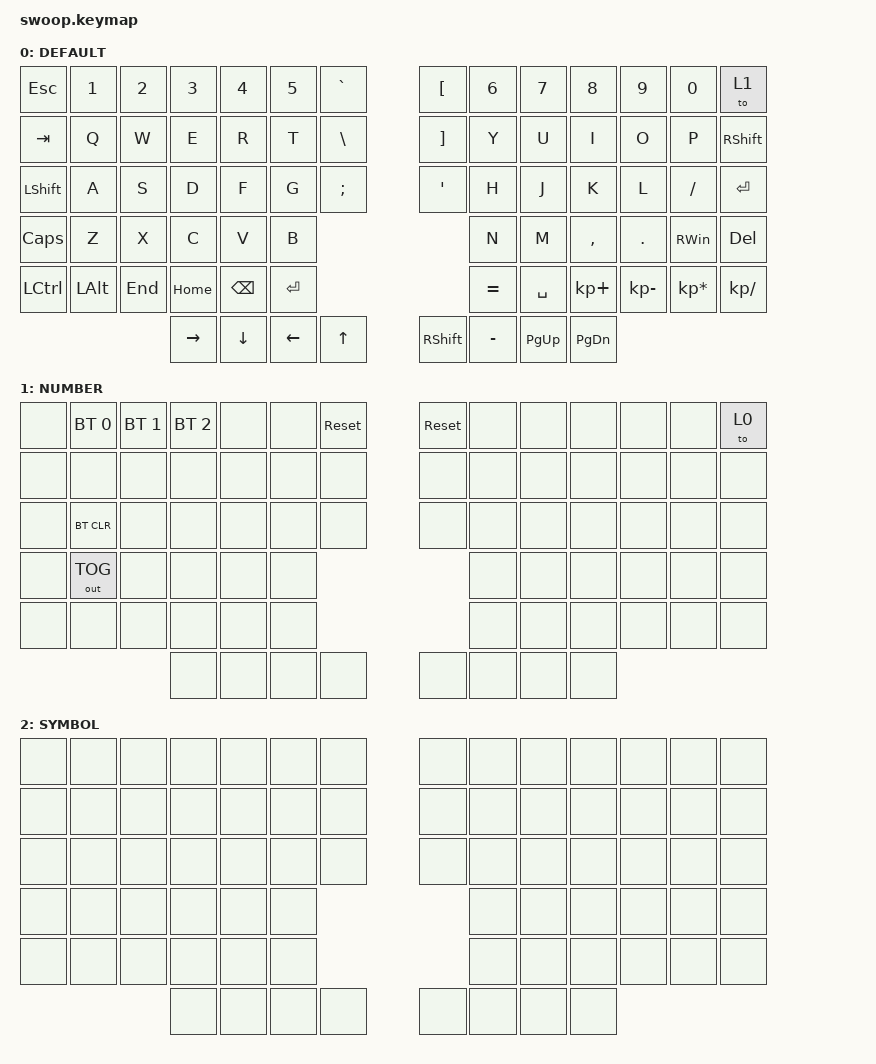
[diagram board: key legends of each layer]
/*
 * Copyright (c) 2020 duckyb
 *
 * SPDX-License-Identifier: MIT
 */

#include <behaviors.dtsi>
#include <dt-bindings/zmk/keys.h>
#include <dt-bindings/zmk/rgb.h>
#include <dt-bindings/zmk/bt.h>
#include <dt-bindings/zmk/outputs.h>


#define DEFAULT 0
#define NUMBER  1
#define SYMBOL  2
#define HOTKEY  3

#define AS(keycode) &as LS(keycode) keycode




/ {
        behaviors {
        td0: tap_dance_0 {
            compatible = "zmk,behavior-tap-dance";
            label = "TAP_DANCE_0";
            #binding-cells = <0>;
            tapping-term-ms = <200>;
            bindings = <&kp ESC>, <&kp TAB>;
        };
    };  

         behaviors {
       as: auto_shift {
        compatible = "zmk,behavior-hold-tap";
        label = "AUTO_SHIFT";
        #binding-cells = <2>;
        tapping-term-ms = <200>;
        quick-tap-ms = <0>;
        flavor = "tap-preferred";
        bindings = <&kp>, <&kp>;
                };             
modcp: mod_copy {
        compatible = "zmk,behavior-mod-morph";
        label = "MOD_COPY";
        #binding-cells = <0>;
        bindings = <&as LS(C) C>, <&kp C>;
        mods = <(LGUI | RGUI)>;
};
        };


    macros {
        macro_phone: macro_phone {
            // 1351
            label = "MACRO_PHONE";
            compatible = "zmk,behavior-macro";
            #binding-cells = <0>;
            bindings
                = < &kp N1 &kp N3 &kp N5  &kp N1>
                ;
        };
        macro_email_q: macro_email_q {
            // 2894512440@qq.com
            label = "MACRO_EMAIL_QQ";
            compatible = "zmk,behavior-macro";
            #binding-cells = <0>;
            bindings 
                = < &kp N2 &kp N8 &kp N9 &kp N4 &kp N5 &kp  N1 &kp N2 &kp N4 &kp N4 &kp N0 
                    &kp AT &kp Q &kp Q &kp DOT  &kp C &kp O &kp M>
                ;
        };
        macro_email_g: macro_email_g {
            // 135115
            compatible = "zmk,behavior-macro";
            label = "MACRO_EMAIL_GMAIL";
            #binding-cells = <0>;
            bindings
                = < &kp N1 &kp N3 &kp N5  &kp N1 &kp N1 &kp N5 > ;
        };
       
    };
    
     combos {
        compatible = "zmk,combos";
         combo_LSHFT {
            timeout-ms = <50>;
            key-positions = <14 15>;
            bindings = <&kp  LSHFT>;
        };
   };



    keymap {
       compatible = "zmk,keymap";
       default_layer {
            label = "DEFAULT";
  bindings = <
&kp ESC  &kp N1 &kp N2 &kp N3 &kp N4 &kp N5  &kp GRAVE                       &kp LBKT &kp N6  &kp N7  &kp N8  &kp N9  &kp N0   &to 1
&kp TAB    &kp Q  &kp W    &kp E   &kp R   &kp T  &kp BSLH                   &kp RBKT &kp Y   &kp U   &kp I   &kp O   &kp P    &kp RSHIFT
&kp LSHIFT  &kp A  &kp S    &kp D    &kp F  &kp G &kp SEMI                   &kp SQT  &kp H   &kp J   &kp K   &kp L   &kp FSLH &kp ENTER
&kp CAPS &kp Z  &kp X    &kp C    &kp V     &kp B                                     &kp N   &kp M   &kp COMMA &kp DOT  &kp RWIN &kp DEL 
&kp LCTRL  &kp LALT  &kp END &kp HOME  &kp BACKSPACE  &kp ENTER                       &kp EQUAL &kp SPACE  &kp KP_PLUS  &kp KP_MINUS   &kp KP_MULTIPLY  &kp KP_DIVIDE  
&kp RIGHT  &kp DOWN	  &kp LEFT 	&kp UP                                        &kp RSHIFT &kp MINUS    &kp PG_UP &kp PG_DN


            >;
        };
        number_layer {
            label = "NUMBER";
            bindings = <
     &none &bt BT_SEL 0 &bt BT_SEL 1 &bt BT_SEL 2 &none &none &sys_reset                   &sys_reset  &none &none &none &none &none &to 0
    &none &none &none &none &none &none &none                                             &none      &none &none &none &none  &none &none
    &none &bt BT_CLR &none &none &none &none  &none                                       &none       &none &none &none &none &none &none
    &none &out OUT_TOG &none &none &none &none                                                        &none &none &none &none &none &none 
    &none &none &none &none &none &none                                                               &none &none &none &none &none &none	
    &none &none &none &none                                                                           &none &none &none &none     	
   	

            >;
        };

        symbol_layer {
            label = "SYMBOL";
            bindings = <
&none &none &none &none &none &none &none                                             &none &none &none &none &none &none &none
    &none &none &none &none &none &none &none                                             &none &none &none &none &none &none &none
    &none &none &none &none &none &none &none                                             &none &none &none &none &none &none &none
    &none &none &none &none &none &none                                                         &none &none &none &none &none &none 
    &none &none &none &none &none &none                                                         &none &none &none &none &none &none	
    &none &none &none &none                         	                                        &none &none &none &none                                          
                                                           
            >;
        };
   };
};
